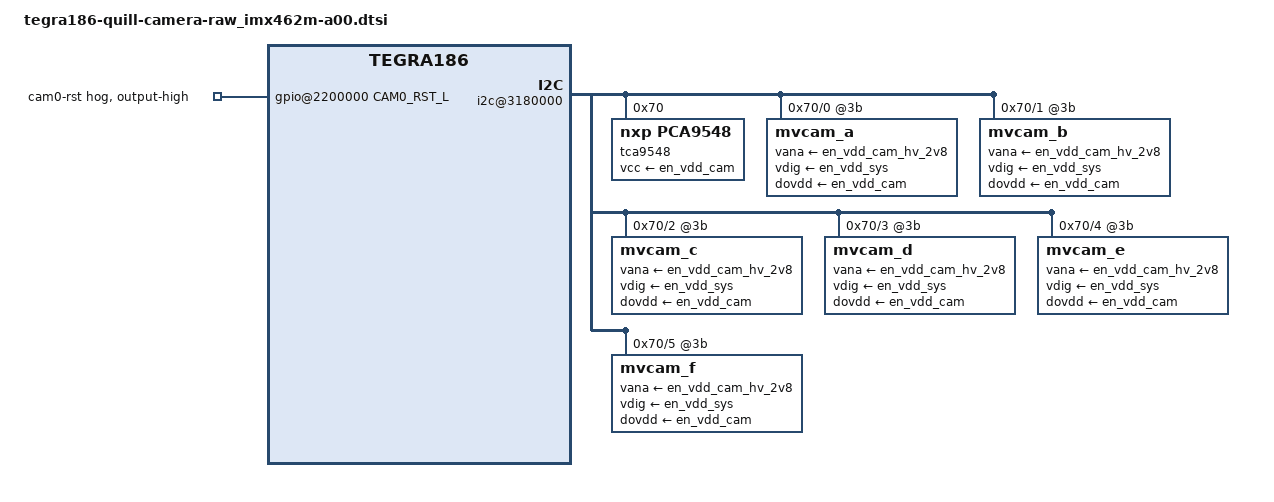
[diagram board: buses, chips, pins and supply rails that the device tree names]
/*
 * Copyright (c) 2015-2016, NVIDIA CORPORATION.  All rights reserved.
 *
 * This program is free software; you can redistribute it and/or modify
 * it under the terms of the GNU General Public License as published by
 * the Free Software Foundation; either version 2 of the License, or
 * (at your option) any later version.
 *
 * This program is distributed in the hope that it will be useful, but WITHOUT
 * ANY WARRANTY; without even the implied warranty of MERCHANTABILITY or
 * FITNESS FOR A PARTICULAR PURPOSE.  See the GNU General Public License for
 * more details.
 *
 * You should have received a copy of the GNU General Public License
 * along with this program.  If not, see <http://www.gnu.org/licenses/>.
 */
/*#include <t18x-common-modules/tegra186-camera-e3322-a00.dtsi>*/
#include <t18x-common-modules/tegra186-camera-veye_mvcam-a00.dtsi>
#include "dt-bindings/clock/tegra186-clock.h"

#define CAM0_RST_L     TEGRA_MAIN_GPIO(R, 5)
#define CAMERA_I2C_MUX_BUS(x) (0x1E + x)

/* camera control gpio definitions */
/ {
	gpio@2200000 {
		camera-control-output-high {
			gpio-hog;
			output-high;
			gpios = <CAM0_RST_L 0>;
			label = "cam0-rst";
		};

		camera-control-output-low {
			status = "disabled";
		};

		camera-control-input {
			status = "disabled";
		};
	};

	i2c@3180000 {
		tca9548@70 {
			compatible = "nxp,pca9548";
			reg = <0x70>;
			#address-cells = <1>;
			#size-cells = <0>;
			vcc-supply = <&en_vdd_cam>;
			skip_mux_detect;
			force_bus_start = <CAMERA_I2C_MUX_BUS(0)>;
			i2c@0 {
				reg = <0>;
				i2c-mux,deselect-on-exit;
				#address-cells = <1>;
				#size-cells = <0>;
			};
			i2c@1 {
				reg = <1>;
				i2c-mux,deselect-on-exit;
				#address-cells = <1>;
				#size-cells = <0>;
			};
			i2c@2 {
				reg = <2>;
				i2c-mux,deselect-on-exit;
				#address-cells = <1>;
				#size-cells = <0>;
			};
			i2c@3 {
				reg = <3>;
				i2c-mux,deselect-on-exit;
				#address-cells = <1>;
				#size-cells = <0>;
			};
			i2c@4 {
				reg = <4>;
				i2c-mux,deselect-on-exit;
				#address-cells = <1>;
				#size-cells = <0>;
			};
			i2c@5 {
				reg = <5>;
				i2c-mux,deselect-on-exit;
				#address-cells = <1>;
				#size-cells = <0>;
			};
		};
    };
};

/* camera control gpio definitions */
/ {
	i2c@3180000 {
		tca9548@70 {
			i2c@0 {
				mvcam_a@3b {
					clocks = <&tegra_car TEGRA186_CLK_EXTPERIPH1>;
					clock-names = "extperiph1";
					mclk = "extperiph1";
					//reset-gpios = <&tca6408_21 0 GPIO_ACTIVE_HIGH>;
					vana-supply = <&en_vdd_cam_hv_2v8>;
					vdig-supply = <&en_vdd_sys>;
					dovdd-supply = <&en_vdd_cam>;
                    mode0 {
                        embedded_metadata_height = "1";
                    };
				};
			};
			i2c@1 {
				mvcam_b@3b {
					clocks = <&tegra_car TEGRA186_CLK_EXTPERIPH1>;
					clock-names = "extperiph1";
					mclk = "extperiph1";
					//reset-gpios = <&tca6408_21 1 GPIO_ACTIVE_HIGH>;
					vana-supply = <&en_vdd_cam_hv_2v8>;
					vdig-supply = <&en_vdd_sys>;
					dovdd-supply = <&en_vdd_cam>;
                    mode0 {
                        embedded_metadata_height = "1";
                    };
				};
			};
			i2c@2 {
				mvcam_c@3b {
					clocks = <&tegra_car TEGRA186_CLK_EXTPERIPH1>;
					clock-names = "extperiph1";
					mclk = "extperiph1";
					//reset-gpios = <&tca6408_21 2 GPIO_ACTIVE_HIGH>;
					vana-supply = <&en_vdd_cam_hv_2v8>;
					vdig-supply = <&en_vdd_sys>;
					dovdd-supply = <&en_vdd_cam>;
                    mode0 {
                        embedded_metadata_height = "1";
                    };
				};
			};
			i2c@3 {
				mvcam_d@3b{
					clocks = <&tegra_car TEGRA186_CLK_EXTPERIPH2>;
					clock-names = "extperiph2";
					mclk = "extperiph2";
					//reset-gpios = <&tca6408_21 3 GPIO_ACTIVE_HIGH>;
					vana-supply = <&en_vdd_cam_hv_2v8>;
					vdig-supply = <&en_vdd_sys>;
					dovdd-supply = <&en_vdd_cam>;
                    mode0 {
                        embedded_metadata_height = "1";
                    };
				};
			};
			i2c@4 {
				mvcam_e@3b {
					clocks = <&tegra_car TEGRA186_CLK_EXTPERIPH2>;
					clock-names = "extperiph2";
					mclk = "extperiph2";
					//reset-gpios = <&tca6408_21 4 GPIO_ACTIVE_HIGH>;
					vana-supply = <&en_vdd_cam_hv_2v8>;
					vdig-supply = <&en_vdd_sys>;
					dovdd-supply = <&en_vdd_cam>;
                    mode0 {
                        embedded_metadata_height = "1";
                    };
				};
			};
			i2c@5 {
				mvcam_f@3b {
					clocks = <&tegra_car TEGRA186_CLK_EXTPERIPH2>;
					clock-names = "extperiph2";
					mclk = "extperiph2";
					//reset-gpios = <&tca6408_21 5 GPIO_ACTIVE_HIGH>;
					vana-supply = <&en_vdd_cam_hv_2v8>;
					vdig-supply = <&en_vdd_sys>;
					dovdd-supply = <&en_vdd_cam>;
                    mode0 {
                        embedded_metadata_height = "1";
                    };
				};
			};
		};
	};
};

